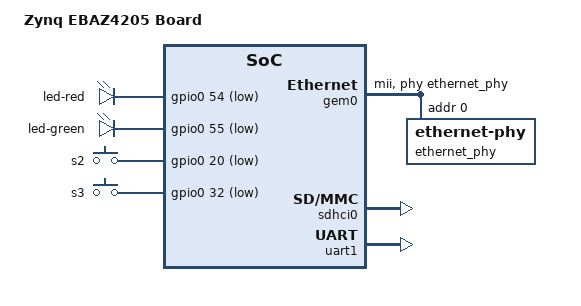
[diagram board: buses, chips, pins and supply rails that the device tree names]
/ {
    model = "Zynq EBAZ4205 Board";

    aliases {
        ethernet0 = &gem0;
        serial0 = &uart1;
        mmc0 = &sdhci0;
        nand0 = &nfc0;
    };

    /* The LEDs are connected through the PL to the PS's EMIO GPIOs 0 and 1.
       They therefore appear as GPIOs 54 and 55 here. The FPGA ports drive
       the cathode of the LEDs (The anode is connected to VCC through a
       150 ohm resistor.) so the GPIOs must be configured as active-low.    */
    gpio-leds {
        compatible = "gpio-leds";

        led-red {
            label = "led-red";
            gpios = <&gpio0 54 1>;
            default-state = "on";
            linux,default-trigger = "heartbeat";
        };

        led-green {
            label = "led-green";
            gpios = <&gpio0 55 1>;
            default-state = "off";
        };
    };

    /* The switches are connected to MIO GPIOs 20 and 32. */
    gpio-keys {
        compatible = "gpio-keys";
        autorepeat;

        s2 {
            label = "s2";
            gpios = <&gpio0 20 1>;
            linux,code = <102>;
            wakeup-source;
        };

        s3 {
            label = "s3";
            gpios = <&gpio0 32 1>;
            linux,code = <116>;
            wakeup-source;
        };
    };
};

&gem0 {
    status = "okay";
    phy-mode = "mii";
    phy-handle = <&ethernet_phy>;

    ethernet_phy: ethernet-phy@0 {
        reg = <0x0>;
        device_type = "ethernet-phy";
    };
};

&sdhci0 {
    status = "okay";
    xlnx,has-cd = <0x1>;
    xlnx,has-power = <0x0>;
    xlnx,has-wp = <0x0>;
};

&uart1 {
    status = "okay";
};

&nfc0 {
    status = "disabled";
};

